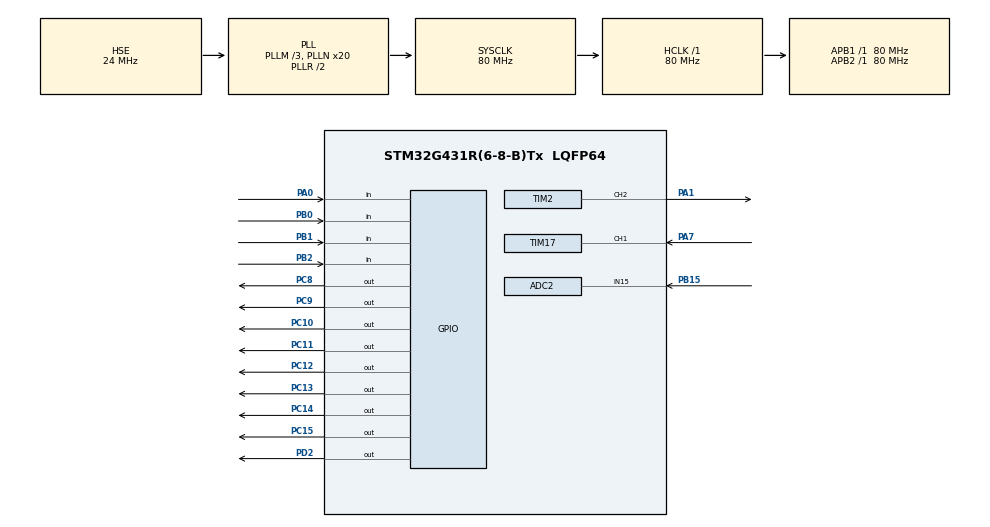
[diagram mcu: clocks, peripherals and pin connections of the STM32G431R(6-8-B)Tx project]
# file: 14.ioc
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ADC2.Channel-0\#ChannelRegularConversion=ADC_CHANNEL_15
ADC2.NbrOfConversionFlag=1
ADC2.OffsetNumber-0\#ChannelRegularConversion=ADC_OFFSET_NONE
ADC2.Rank-0\#ChannelRegularConversion=1
ADC2.SamplingTime-0\#ChannelRegularConversion=ADC_SAMPLETIME_2CYCLES_5
Mcu.Family=STM32G4
Mcu.Name=STM32G431R(6-8-B)Tx
Mcu.Package=LQFP64
NVIC.PriorityGroup=NVIC_PRIORITYGROUP_4
NVIC.TIM1_TRG_COM_TIM17_IRQn=true\:0\:0\:false\:false\:true\:true\:true
NVIC.TIM3_IRQn=true\:0\:0\:false\:false\:true\:true\:true
NVIC.TIM4_IRQn=true\:0\:0\:false\:false\:true\:true\:true
PA0.GPIO_PuPd=GPIO_PULLUP
PA0.Signal=GPIO_Input
PA1.Signal=S_TIM2_CH2
PA13.Mode=Serial_Wire
PA13.Signal=SYS_JTMS-SWDIO
PA14.Mode=Serial_Wire
PA14.Signal=SYS_JTCK-SWCLK
PA7.Signal=S_TIM17_CH1
PB0.GPIO_PuPd=GPIO_PULLUP
PB0.Signal=GPIO_Input
PB1.GPIO_PuPd=GPIO_PULLUP
PB1.Signal=GPIO_Input
PB15.Mode=IN15-Single-Ended
PB15.Signal=ADC2_IN15
PB2.GPIO_PuPd=GPIO_PULLUP
PB2.Signal=GPIO_Input
PC10.PinState=GPIO_PIN_SET
PC10.Signal=GPIO_Output
PC11.PinState=GPIO_PIN_SET
PC11.Signal=GPIO_Output
PC12.PinState=GPIO_PIN_SET
PC12.Signal=GPIO_Output
PC13.PinState=GPIO_PIN_SET
PC13.Signal=GPIO_Output
PC14-OSC32_IN.PinState=GPIO_PIN_SET
PC14-OSC32_IN.Signal=GPIO_Output
PC15-OSC32_OUT.PinState=GPIO_PIN_SET
PC15-OSC32_OUT.Signal=GPIO_Output
PC8.PinState=GPIO_PIN_SET
PC8.Signal=GPIO_Output
PC9.PinState=GPIO_PIN_SET
PC9.Signal=GPIO_Output
PD2.Signal=GPIO_Output
PF0-OSC_IN.Mode=HSE-External-Oscillator
PF0-OSC_IN.Signal=RCC_OSC_IN
PF1-OSC_OUT.Mode=HSE-External-Oscillator
PF1-OSC_OUT.Signal=RCC_OSC_OUT
ProjectManager.HeapSize=0x200
ProjectManager.StackSize=0x400
ProjectManager.TargetToolchain=MDK-ARM V5
RCC.ADC12Freq_Value=80000000
RCC.AHBFreq_Value=80000000
RCC.APB1Freq_Value=80000000
RCC.APB1TimFreq_Value=80000000
RCC.APB2Freq_Value=80000000
RCC.APB2TimFreq_Value=80000000
RCC.CortexFreq_Value=80000000
RCC.EXTERNAL_CLOCK_VALUE=12288000
RCC.HCLKFreq_Value=80000000
RCC.HSE_VALUE=24000000
RCC.HSI48_VALUE=48000000
RCC.HSI_VALUE=16000000
RCC.LSE_VALUE=32768
RCC.PLLM=RCC_PLLM_DIV3
RCC.PLLN=20
RCC.PLLSourceVirtual=RCC_PLLSOURCE_HSE
RCC.SYSCLKFreq_VALUE=80000000
RCC.SYSCLKSource=RCC_SYSCLKSOURCE_PLLCLK
RCC.USBFreq_Value=80000000
RCC.VCOOutputFreq_Value=160000000
SH.S_TIM17_CH1.0=TIM17_CH1,Input_Capture1_from_TI1
SH.S_TIM2_CH2.0=TIM2_CH2,PWM Generation2 CH2
TIM17.Channel=TIM_CHANNEL_1
TIM17.PeriodNoDither=65535
TIM17.Prescaler=80-1
TIM2.Channel-PWM\ Generation2\ CH2=TIM_CHANNEL_2
TIM2.PeriodNoDither=1000-1
TIM2.Prescaler=20-1
TIM2.PulseNoDither_2=100
TIM3.PeriodNoDither=10000-1
TIM3.Prescaler=80-1
TIM4.PeriodNoDither=10000-1
TIM4.Prescaler=800-1
VP_SYS_VS_DBSignals.Mode=DisableDeadBatterySignals
VP_TIM17_VS_ClockSourceINT.Mode=Enable_Timer
VP_TIM2_VS_ClockSourceINT.Mode=Internal
VP_TIM3_VS_ClockSourceINT.Mode=Internal
VP_TIM4_VS_ClockSourceINT.Mode=Internal
board=custom

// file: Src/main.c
/* USER CODE BEGIN Header */
/**
  ******************************************************************************
  * @file           : main.c
  * @brief          : Main program body
  ******************************************************************************
  * @attention
  *
  * <h2><center>&copy; Copyright (c) 2024 STMicroelectronics.
  * All rights reserved.</center></h2>
  *
  * This software component is licensed by ST under BSD 3-Clause license,
  * the "License"; You may not use this file except in compliance with the
  * License. You may obtain a copy of the License at:
  *                        opensource.org/licenses/BSD-3-Clause
  *
  ******************************************************************************
  */
/* USER CODE END Header */

#include "main.h"
#include "adc.h"
#include "tim.h"
#include "gpio.h"

/* USER CODE BEGIN Includes */
#include "myfile.h"
#include "display.h"
#include "lcd.h"
#include "key.h"
#include "stdio.h"
/* USER CODE END Includes */

/* USER CODE BEGIN PV */

//当前所处界面
//0---数据界面	1---参数界面  2---统计界面
uint8_t menu=0;

//当前输出模式
//0---低频模式	1---高频模式
uint8_t mode=0;

//参数变量
uint8_t r=1;
uint8_t k=1;

//实时占空比
float duty=10;

//测量频率
uint16_t freq_h=1,freq_l=1;
//实时速度
float speed_h,speed_l;
//对应模式下速度最大值
float speed_high_max=1,speed_low_max=1;

//pwm输出模式切换次数
uint8_t n=0;

//占空比调整功能的状态
//0--锁定		1--解锁
uint8_t status=1;

//参数界面下调整的参数
//	0--调整R	1--调整K
uint8_t change_para;

//是否界面从数据界面切换到参数界面
//0--否 1--是
uint8_t change_flag=0;

//模式切换期间 实时频率
uint16_t freq=4000;
//led2的状态
uint8_t led2_sta;

//定时器计数
uint16_t count_tim;

//是否可以切换模式
uint8_t is_change_mode=1;
/* USER CODE END PV */

void SystemClock_Config(void);

int main(void)
{

  /* MCU Configuration--------------------------------------------------------*/

  /* Reset of all peripherals, Initializes the Flash interface and the Systick. */
  HAL_Init();

  /* Configure the system clock */
  SystemClock_Config();

  /* Initialize all configured peripherals */
  MX_GPIO_Init();
  MX_TIM2_Init();
  MX_TIM3_Init();
  MX_ADC2_Init();
  MX_TIM4_Init();
  MX_TIM17_Init();
  /* USER CODE BEGIN 2 */
	sys_init();
  /* USER CODE END 2 */

  /* Infinite loop */
  while (1)
  {

    /* USER CODE BEGIN 3 */
		sys_work();
  }
  /* USER CODE END 3 */
}

void SystemClock_Config(void)
{
  RCC_OscInitTypeDef RCC_OscInitStruct = {0};
  RCC_ClkInitTypeDef RCC_ClkInitStruct = {0};
  RCC_PeriphCLKInitTypeDef PeriphClkInit = {0};

  /** Configure the main internal regulator output voltage
  */
  HAL_PWREx_ControlVoltageScaling(PWR_REGULATOR_VOLTAGE_SCALE1);
  /** Initializes the CPU, AHB and APB busses clocks
  */
  RCC_OscInitStruct.OscillatorType = RCC_OSCILLATORTYPE_HSE;
  RCC_OscInitStruct.HSEState = RCC_HSE_ON;
  RCC_OscInitStruct.PLL.PLLState = RCC_PLL_ON;
  RCC_OscInitStruct.PLL.PLLSource = RCC_PLLSOURCE_HSE;
  RCC_OscInitStruct.PLL.PLLM = RCC_PLLM_DIV3;
  RCC_OscInitStruct.PLL.PLLN = 20;
  RCC_OscInitStruct.PLL.PLLP = RCC_PLLP_DIV2;
  RCC_OscInitStruct.PLL.PLLQ = RCC_PLLQ_DIV2;
  RCC_OscInitStruct.PLL.PLLR = RCC_PLLR_DIV2;
  if (HAL_RCC_OscConfig(&RCC_OscInitStruct) != HAL_OK)
  {
    Error_Handler();
  }
  /** Initializes the CPU, AHB and APB busses clocks
  */
  RCC_ClkInitStruct.ClockType = RCC_CLOCKTYPE_HCLK|RCC_CLOCKTYPE_SYSCLK
                              |RCC_CLOCKTYPE_PCLK1|RCC_CLOCKTYPE_PCLK2;
  RCC_ClkInitStruct.SYSCLKSource = RCC_SYSCLKSOURCE_PLLCLK;
  RCC_ClkInitStruct.AHBCLKDivider = RCC_SYSCLK_DIV1;
  RCC_ClkInitStruct.APB1CLKDivider = RCC_HCLK_DIV1;
  RCC_ClkInitStruct.APB2CLKDivider = RCC_HCLK_DIV1;

  if (HAL_RCC_ClockConfig(&RCC_ClkInitStruct, FLASH_LATENCY_3) != HAL_OK)
  {
    Error_Handler();
  }
  /** Initializes the peripherals clocks
  */
  PeriphClkInit.PeriphClockSelection = RCC_PERIPHCLK_ADC12;
  PeriphClkInit.Adc12ClockSelection = RCC_ADC12CLKSOURCE_SYSCLK;
  if (HAL_RCCEx_PeriphCLKConfig(&PeriphClkInit) != HAL_OK)
  {
    Error_Handler();
  }
}

void Error_Handler(void)
{
}

/************************ (C) COPYRIGHT STMicroelectronics *****END OF FILE****/
